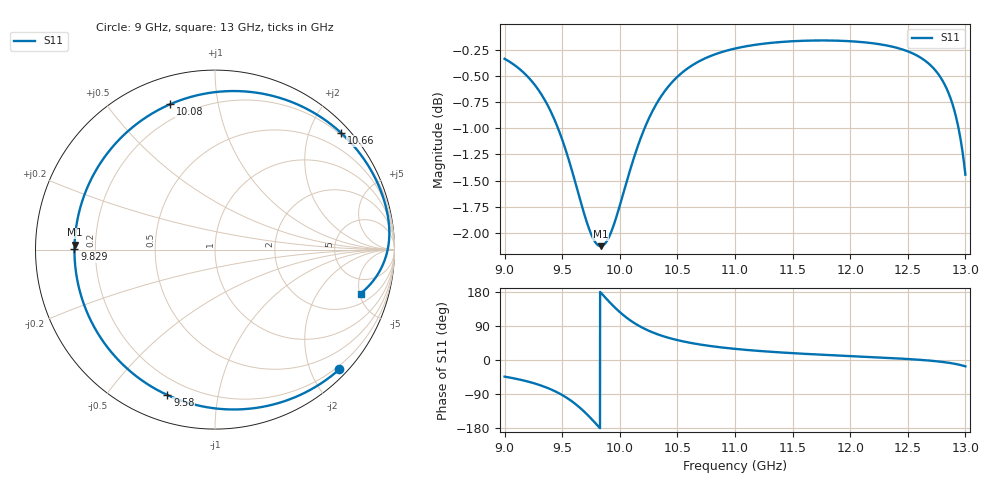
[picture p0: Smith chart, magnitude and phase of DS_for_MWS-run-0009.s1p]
! TOUCHSTONE file generated by CST DESIGN STUDIO
! Date and time: Tue Feb  4 17:26:16 2025
! Project name: C:\Work\MatlabApps\UnitCellOptimizationMatlab\CST\unitcell.cst
! Tree item: Tasks\Sweep1\SPara1\S-Parameters
! Header version: 2024
! Port assignment regex: !\s*Touchstone port\s*([0-9]+)\s*=\s*(CST MWS port|CST DES external port|CST DES block port)\s*(.+)\s* \(\"(.*)\"\)(\s*mode\s*([0-9]+))?.*
! Touchstone port assignment:
! Touchstone port 1 = CST DES external port 1 ("")
# GHz S MA R 50
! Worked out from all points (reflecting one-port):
!   4001 points, 9 GHz to 13 GHz, reference 50 ohm
!   lowest |S11| = -2.1 dB at 9.834 GHz (marker M1), VSWR 8.22, Z = 6.09 + j0.84 ohm
!   phase of S11 starts at -44 deg and turns -333 deg over the sweep
!   S11 on the Smith chart (normalised r, x): 9 GHz: 0.14, -2.47; 9.58 GHz: 0.12, -0.72; 9.829 GHz: 0.12, +0.00; 10.08 GHz: 0.13, +0.73; 10.66 GHz: 0.16, +2.55; 13 GHz: 2.95, -5.12
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9  0.9619 -43.9
9.144  0.9497 -52.6
9.276  0.9325 -63.3
9.391  0.9102 -76.1
9.5  0.8802 -92.4
9.58  0.8525 -108.1
9.639  0.8302 -122.1
9.696  0.8096 -137.7
9.766  0.7901 -159.3
9.829  0.783 179.7
9.834  0.783 178.0
9.909  0.7915 153.3
9.955  0.8037 139.1
10  0.8187 126.4
10.079  0.8475 107.1
10.168  0.8776 89.9
10.28  0.9074 73.5
10.384  0.9274 62.1
10.5  0.9431 52.5
10.659  0.9573 42.7
10.815  0.9662 35.7
11  0.9728 29.4
11.5  0.9807 18.0
12  0.9807 10.3
12.5  0.9698 2.6
12.823  0.9344 -5.9
12.917  0.9033 -10.5
13  0.847 -16.8
